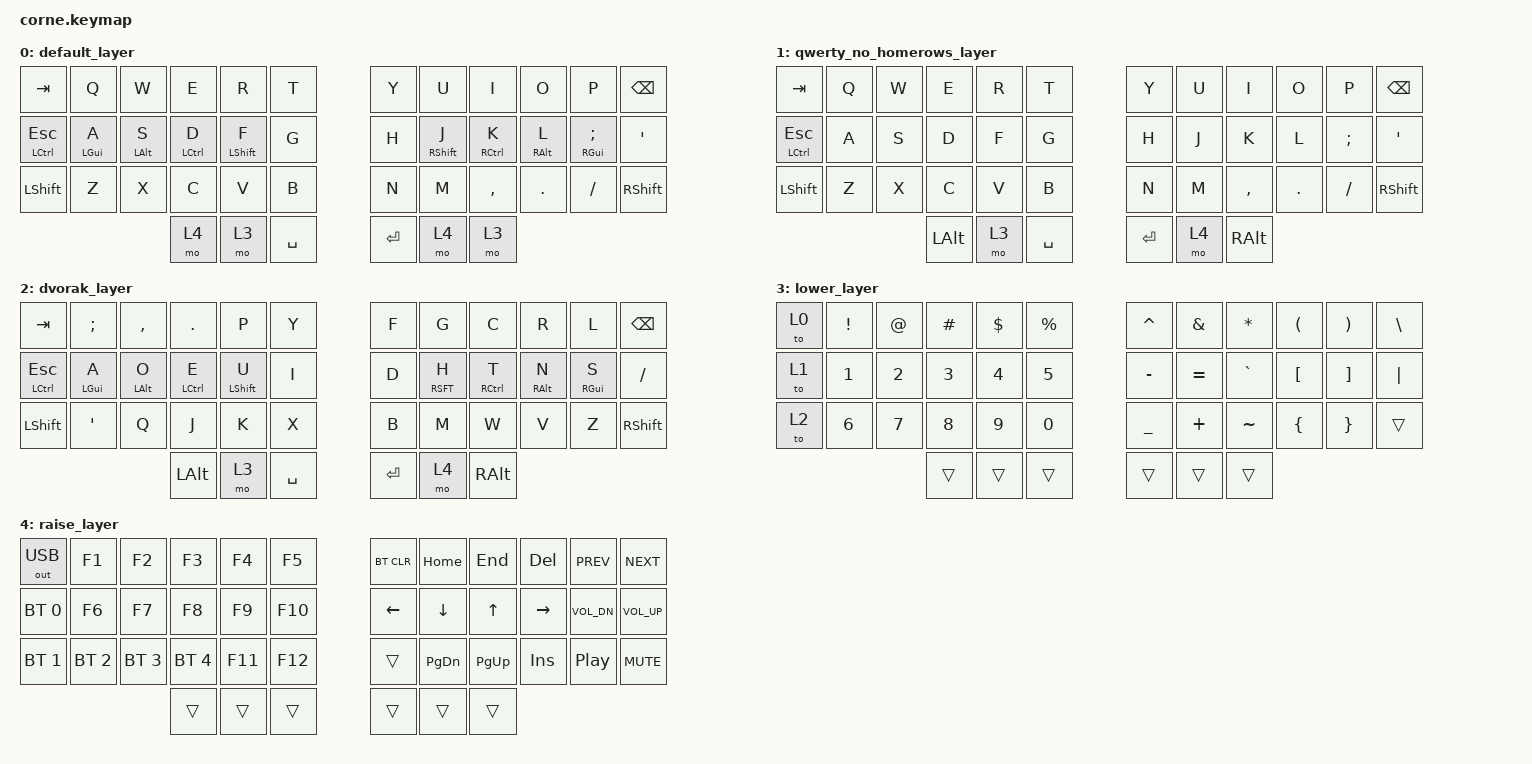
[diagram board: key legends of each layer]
/*
 * Copyright (c) 2020 The ZMK Contributors
 *
 * SPDX-License-Identifier: MIT
 */

#include <behaviors.dtsi>
#include <dt-bindings/zmk/keys.h>
#include <dt-bindings/zmk/bt.h>
#include <dt-bindings/zmk/outputs.h>

/ {
        behaviors {
                hm: homerow_mods {
                        compatible = "zmk,behavior-hold-tap";
                        label = "HOMEROW_MODS";
                        #binding-cells = <2>;
                        tapping-term-ms = <180>;
                        quick-tap-ms = <0>;
                        flavor = "tap-preferred";
                        bindings = <&kp>, <&kp>;
                };
        };

        keymap {
                compatible = "zmk,keymap";

                default_layer {
// -----------------------------------------------------------------------------------------
// |  TAB |  Q  |  W  |  E  |  R  |  T  |   |  Y  |  U   |  I  |  O  |  P  | BSPC |
// | CTRL |  A  |  S  |  D  |  F  |  G  |   |  H  |  J   |  K  |  L  |  ;  |  '   |
// | SHFT |  Z  |  X  |  C  |  V  |  B  |   |  N  |  M   |  ,  |  .  |  /  | SHFT |
//                    | RSE | LWR | SPC |   | ENT | RSE  | LWR |
                        bindings = <
   &kp TAB       &kp Q      &kp W      &kp E       &kp R       &kp T         &kp Y   &kp U        &kp I       &kp O      &kp P         &kp BSPC
   &hm LCTRL ESC &hm LGUI A &hm LALT S &hm LCTRL D &hm LSHFT F &kp G         &kp H   &hm RSHFT J  &hm RCTRL K &hm RALT L &hm RGUI SEMI &kp SQT
   &kp LSHFT     &kp Z      &kp X      &kp C       &kp V       &kp B         &kp N   &kp M        &kp COMMA   &kp DOT    &kp FSLH      &kp RSHFT
                                       &mo 4       &mo 3       &kp SPACE     &kp RET &mo 4        &mo 3
                        >;
                };

                qwerty_no_homerows_layer {
// -----------------------------------------------------------------------------------------
// | TAB_ |  q  |  w  |  e  |  r  |  t  |   |  y  |  u  |  i  |  o  |  p  | BKSP |
// | CTRL |  a  |  s  |  d  |  f  |  g  |   |  h  |  j  |  k  |  l  |  ;  |  '   |
// | SHFT |  z  |  x  |  c  |  v  |  b  |   |  n  |  m  |  ,  |  .  |  /  | SHFT |
//                    | ALT | mo2 | SPC |   | ENT | mo3 | RALT|

  bindings = <
        &kp TAB       &kp Q &kp W &kp E    &kp R &kp T        &kp Y   &kp U &kp I     &kp O   &kp P    &kp BSPC
        &hm LCTRL ESC &kp A &kp S &kp D    &kp F &kp G        &kp H   &kp J &kp K     &kp L   &kp SEMI &kp SQT
        &kp LSHFT     &kp Z &kp X &kp C    &kp V &kp B        &kp N   &kp M &kp COMMA &kp DOT &kp FSLH &kp RSHFT
                                  &kp LALT &mo 3 &kp SPACE    &kp RET &mo 4 &kp RALT 
    >;
                };

		dvorak_layer {
// -----------------------------------------------------------------------------------------
// | TAB_ |  ;  |  ,  |  .  |  p  |  y  |   |  f  |  g  |  c  |  r  |  l  | BKSP |
// | CTRL |  a  |  o  |  e  |  u  |  i  |   |  d  |  h  |  t  |  n  |  s  |  /   |
// | SHFT |  '  |  q  |  j  |  k  |  x  |   |  b  |  m  |  w  |  v  |  z  | SHFT |
//                    | ALT | mo4 | SPC |   | ENT | mo5 | mo6 |

    bindings = <
        &kp TAB       &kp SEMI   &kp COMMA  &kp DOT     &kp P       &kp Y         &kp F   &kp G      &kp C       &kp R      &kp L      &kp BSPC
        &hm LCTRL ESC &hm LGUI A &hm LALT O &hm LCTRL E &hm LSHFT U &kp I         &kp D   &hm RSFT H &hm RCTRL T &hm RALT N &hm RGUI S &kp FSLH
        &kp LSHFT     &kp SQT    &kp Q      &kp J       &kp K       &kp X         &kp B   &kp M      &kp W       &kp V      &kp Z      &kp RSHFT
                                            &kp LALT    &mo 3       &kp SPACE     &kp RET &mo 4      &kp RALT
    >;
};


                lower_layer {
// -----------------------------------------------------------------------------------------
// |  T0  |  !  |  @  |  #  |  $  |  %  |   |  ^  |  &  |  *  |  (  |  )  |  \  |
// |  T1  |  1  |  2  |  3  |  4  |  5  |   |  -  |  =  |  \  |  [  |  ]  |  |  |
// |  T2  |  6  |  7  |  8  |  9  |  0  |   |  _  |  +  |  ~  |  {  |  }  |     |
//                    |     |     |     |   |     |     |     |

  bindings = <
    &to 0 &kp EXCL &kp AT &kp HASH &kp DLLR &kp PRCNT      &kp CARET &kp AMPS  &kp ASTRK &kp LPAR &kp RPAR &kp BSLH
    &to 1 &kp N1   &kp N2 &kp N3   &kp N4   &kp N5         &kp MINUS &kp EQUAL &kp GRAVE &kp LBKT &kp RBKT &kp PIPE
    &to 2 &kp N6   &kp N7 &kp N8   &kp N9   &kp N0         &kp UNDER &kp PLUS  &kp TILDE &kp LBRC &kp RBRC &trans
	                  &trans   &trans   &trans         &trans    &trans    &trans
  >;
                };

                raise_layer {
// -----------------------------------------------------------------------------------------
// | BTCLR| _F1 | _F2 | _F3 | _F4 | _F5 |   |     | HOM | END | DEL | PRV | NXT |
// | BT0  | _F6 | _F7 | _F8 | _F9 | F10 |   | LFT | DWN | _UP | RGT | VDN | VUP |
// | BT1  | BT2 | BT3 | BT4 | F11 | F12 |   |     | PGD | PGU | INS | PLY | MUT |
//                    |     |     |     |   |     |     |     |

    bindings = <
        &out OUT_USB &kp F1       &kp F2       &kp F3       &kp F4  &kp F5       &bt BT_CLR &kp HOME  &kp END   &kp DEL   &kp C_PREV   &kp C_NEXT
        &bt BT_SEL 0 &kp F6       &kp F7       &kp F8       &kp F9  &kp F10      &kp LEFT   &kp DOWN  &kp UP    &kp RIGHT &kp C_VOL_DN &kp C_VOL_UP
        &bt BT_SEL 1 &bt BT_SEL 2 &bt BT_SEL 3 &bt BT_SEL 4 &kp F11 &kp F12      &trans     &kp PG_DN &kp PG_UP &kp INS   &kp C_PP     &kp C_MUTE
                                               &trans       &trans  &trans       &trans     &trans    &trans
    >;
                };

        };
};
